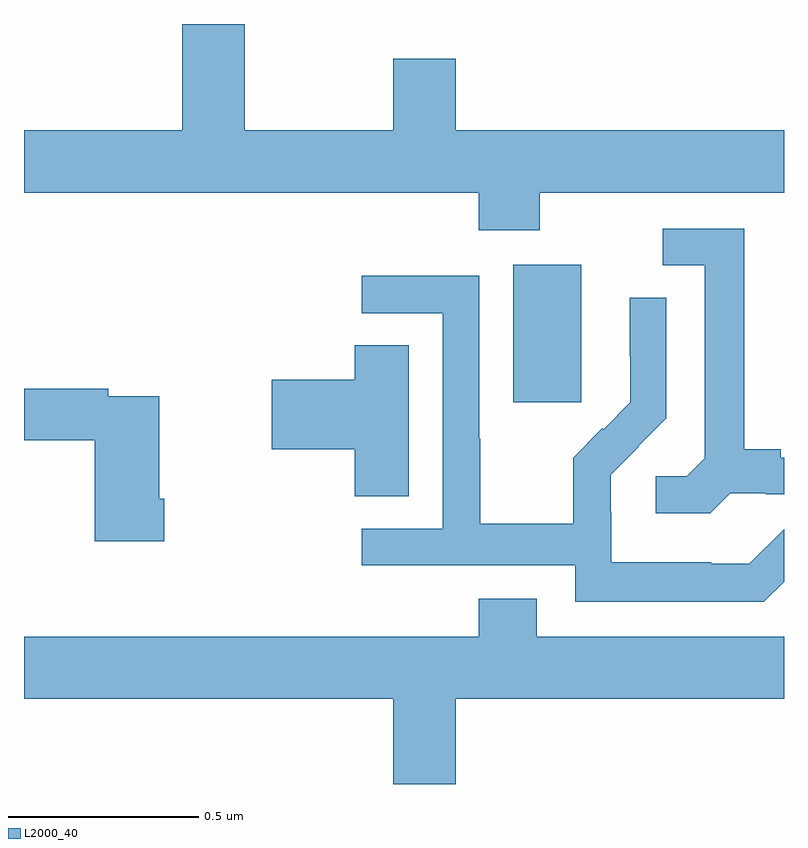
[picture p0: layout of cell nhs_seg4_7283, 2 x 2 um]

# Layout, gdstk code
import gdstk
lib = gdstk.Library(unit=1e-6, precision=1e-09)
def R(c, l, rs):  # rectangles x0, y0, x1, y1
    for r in rs: c.add(gdstk.rectangle(r[:2], r[2:], *l))
def P(c, l, *ps):  # polygons
    for p in ps: c.add(gdstk.Polygon(p, *l))
L2000_40 = (2000, 40)

nhs_seg4_7283 = lib.new_cell('nhs_seg4_7283')
R(nhs_seg4_7283, L2000_40, [(201.287,826.905,201.466,827.266)])
P(nhs_seg4_7283, L2000_40, [(201.197,827.357),(201.357,827.357),(201.357,827.456),(202,827.456),(202,827.62),(201.136,827.62),(201.136,827.809),(200.972,827.809),(200.972,827.62),(200.581,827.62),(200.581,827.9),(200.417,827.9),(200.417,827.62),(200,827.62),(200,827.456),(201.197,827.456)],
  [(201.858,826.665),(201.952,826.665),(201.952,826.662),(202,826.662),(202,826.758),(201.991,826.758),(201.991,826.781),(201.895,826.781),(201.895,827.361),(201.681,827.361),(201.681,827.265),(201.791,827.265),(201.791,826.757),(201.744,826.71),(201.663,826.71),(201.663,826.613),(201.806,826.613)],
  [(202,826.432),(202,826.57),(201.909,826.479),(201.809,826.479),(201.809,826.483),(201.546,826.483),(201.546,826.617),(201.544,826.617),(201.544,826.714),(201.618,826.788),(201.617,826.789),(201.69,826.862),(201.69,827.18),(201.594,827.18),(201.594,827.026),(201.596,827.026),(201.596,826.904),(201.525,826.833),(201.522,826.836),(201.445,826.759),(201.445,826.585),(201.201,826.585),(201.201,826.808),(201.198,826.808),(201.198,827.238),(200.889,827.238),(200.889,827.139),(201.102,827.139),(201.102,826.572),(200.889,826.572),(200.889,826.476),(201.45,826.476),(201.45,826.379),(201.947,826.379)],
  [(201.013,827.054),(200.87,827.054),(200.87,826.964),(200.652,826.964),(200.652,826.781),(200.87,826.781),(200.87,826.657),(201.013,826.657)],
  [(200.369,826.651),(200.356,826.651),(200.356,826.92),(200.222,826.92),(200.222,826.94),(200,826.94),(200,826.804),(200.186,826.804),(200.186,826.539),(200.369,826.539)],
  [(201.136,826.124),(202,826.124),(202,826.288),(201.349,826.288),(201.349,826.387),(201.197,826.387),(201.197,826.288),(200,826.288),(200,826.124),(200.972,826.124),(200.972,825.9),(201.136,825.9)])

lib.write_gds('nhs_seg4_7283.gds')
